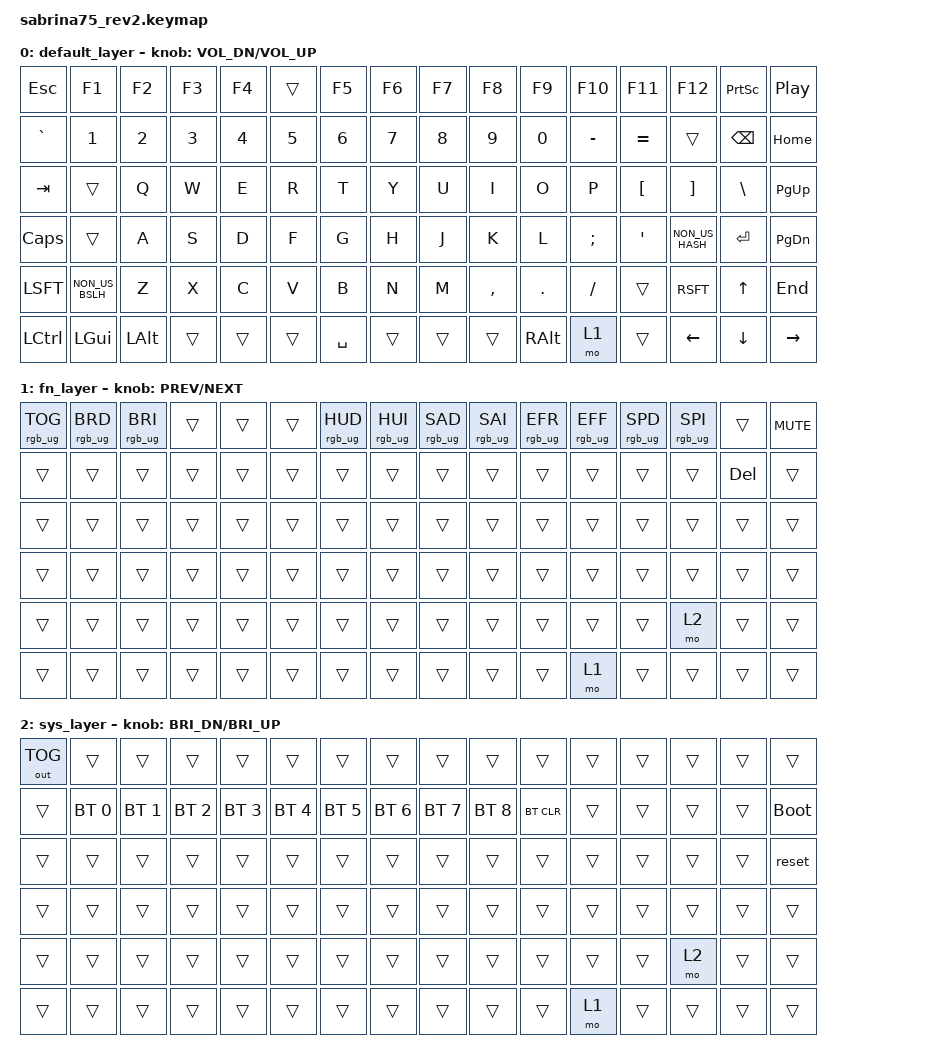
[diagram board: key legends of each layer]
#include <behaviors.dtsi>
#include <dt-bindings/zmk/keys.h>
#include <dt-bindings/zmk/bt.h>
#include <dt-bindings/zmk/outputs.h>
#include <dt-bindings/zmk/rgb.h>
#include <dt-bindings/zmk/ext_power.h>

/ {
	keymap {
		compatible = "zmk,keymap";

		default_layer {
// -----------------------------------------------------------------------------------------
// | ESC   | F1    | F2    | F3    | F4    | F5    | F6    | F7    | F8    | F9    | F10   | F11   | F12   | PrSc  | P/P   |
// | ~     | 1     | 2     | 3     | 4     | 5     | 6     | 7     | 8     | 9     | 0     | -     |  =    | BSPC  | Home  |
// | TAB   | Q     | W     | E     | R     | T     | Y     | U     | I     | O     | P     | [     |  ]    | \     | PgUp  |
// | CAPS  | A     | S     | D     | F     | G     | H     | J     | K     | L     | ;     | '     | NUHS  | ENTER | PgDw  |
// | SHIFT | NUBS  | Z     | X     | C     | V     | B     | N     | M     | ,     | .     | ;     | SHFT  | UP    | END   |
// | CTRL  | WIN   | ALT   |                        SPACE                          | ALT   | LT 1  | LFT   | DWN   | RGT   |

			bindings = <
	&kp ESC          &kp F1           &kp F2           &kp F3        &kp F4        &trans        &kp F5           &kp F6           &kp F7           &kp F8           &kp F9           &kp F10          &kp F11          &kp F12          &kp PSCRN       &kp C_PLAY_PAUSE
	&kp GRAV         &kp NUM_1        &kp NUM_2        &kp NUM_3     &kp NUM_4     &kp NUM_5     &kp NUM_6        &kp NUM_7        &kp NUM_8        &kp NUM_9        &kp NUM_0        &kp MINUS        &kp EQL          &trans           &kp BKSP        &kp HOME
	&kp TAB          &trans           &kp Q            &kp W         &kp E         &kp R         &kp T            &kp Y            &kp U            &kp I            &kp O            &kp P            &kp LBKT         &kp RBKT         &kp BSLH        &kp PG_UP
	&kp CAPS         &trans           &kp A            &kp S         &kp D         &kp F         &kp G            &kp H            &kp J            &kp K            &kp L            &kp SCLN         &kp QUOT         &kp NON_US_HASH  &kp RET         &kp PG_DN
	&kp LSFT         &kp NON_US_BSLH  &kp Z            &kp X         &kp C         &kp V         &kp B            &kp N            &kp M            &kp CMMA         &kp  DOT         &kp FSLH         &trans           &kp RSFT         &kp UP          &kp END
    &kp LCTRL        &kp LGUI         &kp LALT         &trans        &trans        &trans        &kp SPACE        &trans           &trans           &trans           &kp RALT         &mo 1            &trans           &kp LEFT         &kp DOWN        &kp RIGHT
			>;
			
			sensor-bindings = <&inc_dec_kp C_VOL_DN C_VOL_UP>;
			
		};

		fn_layer {
// |RGB_TOG|RGB_BRD|RGB_BRI|       |       |RGB_HUD|RGB_HUI|RGB_SAD|RGB_SAI|RGB_EFR|RGB_EFF|RGB_SPD|RGB_SPD|       | MUTE  |
// |       |       |       |       |       |       |       |       |       |       |       |       |       |       |       |
// |       |       |       |       |       |       |       |       |       |       |       |       |       |       |       |
// |       |       |       |       |       |       |       |       |       |       |       |       |       |       |       |
// |       |       |       |       |       |       |       |       |       |       |       |       | LT 2  |       |       |
// |       |       |       |                                                       |       | LT 1  |       |       |       |

			bindings = <
	&rgb_ug RGB_TOG  &rgb_ug RGB_BRD  &rgb_ug RGB_BRI  &trans        &trans        &trans        &rgb_ug RGB_HUD  &rgb_ug RGB_HUI  &rgb_ug RGB_SAD  &rgb_ug RGB_SAI  &rgb_ug RGB_EFR  &rgb_ug RGB_EFF  &rgb_ug RGB_SPD  &rgb_ug RGB_SPI  &trans          &kp C_MUTE
	&trans           &trans           &trans           &trans        &trans        &trans        &trans           &trans           &trans           &trans           &trans           &trans           &trans           &trans           &kp DEL         &trans    
	&trans           &trans           &trans           &trans        &trans        &trans        &trans           &trans           &trans           &trans           &trans           &trans           &trans           &trans           &trans          &trans    
	&trans           &trans           &trans           &trans        &trans        &trans        &trans           &trans           &trans           &trans           &trans           &trans           &trans           &trans           &trans          &trans    
	&trans           &trans           &trans           &trans        &trans        &trans        &trans           &trans           &trans           &trans           &trans           &trans           &trans           &mo 2            &trans          &trans
	&trans           &trans           &trans           &trans        &trans        &trans        &trans           &trans           &trans           &trans           &trans           &mo 1            &trans           &trans           &trans          &trans
			>;

			sensor-bindings = <&inc_dec_kp C_PREV C_NEXT>;

		};

				sys_layer {
// |BT_TOG |       |       |       |       |       |       |       |       |       |       |       |       |       |       |
// |       | BT_1  | BT_2  | BT_3  | BT_4  | BT_5  | BT_6  | BT_7  | BT_8  | BT_9  | BT_CLR|       |       |       | BOOT  |
// |       |       |       |       |       |       |       |       |       |       |       |       |       |       | RESET |
// |       |       |       |       |       |       |       |       |       |       |       |       |       |       |       |
// |       |       |       |       |       |       |       |       |       |       |       |       | LT 2  |       |       |
// |       |       |       |                                                       |       | LT 1  |       |       |       |
			bindings = <
	&out OUT_TOG     &trans           &trans           &trans        &trans        &trans        &trans           &trans           &trans           &trans           &trans           &trans           &trans           &trans           &trans          &trans    
	&trans           &bt BT_SEL 0     &bt BT_SEL 1     &bt BT_SEL 2  &bt BT_SEL 3  &bt BT_SEL 4  &bt BT_SEL 5     &bt BT_SEL 6     &bt BT_SEL 7     &bt BT_SEL 8     &bt BT_CLR       &trans           &trans           &trans           &trans          &bootloader
    &trans           &trans           &trans           &trans        &trans        &trans        &trans           &trans           &trans           &trans           &trans           &trans           &trans           &trans           &trans          &reset    
	&trans           &trans           &trans           &trans        &trans        &trans        &trans           &trans           &trans           &trans           &trans           &trans           &trans           &trans           &trans          &trans    
	&trans           &trans           &trans           &trans        &trans        &trans        &trans           &trans           &trans           &trans           &trans           &trans           &trans           &mo 2            &trans          &trans
	&trans           &trans           &trans           &trans        &trans        &trans        &trans           &trans           &trans           &trans           &trans           &mo 1            &trans           &trans           &trans          &trans
			>;

			sensor-bindings = <&inc_dec_kp C_BRI_DN C_BRI_UP>;

		};
	};
};
